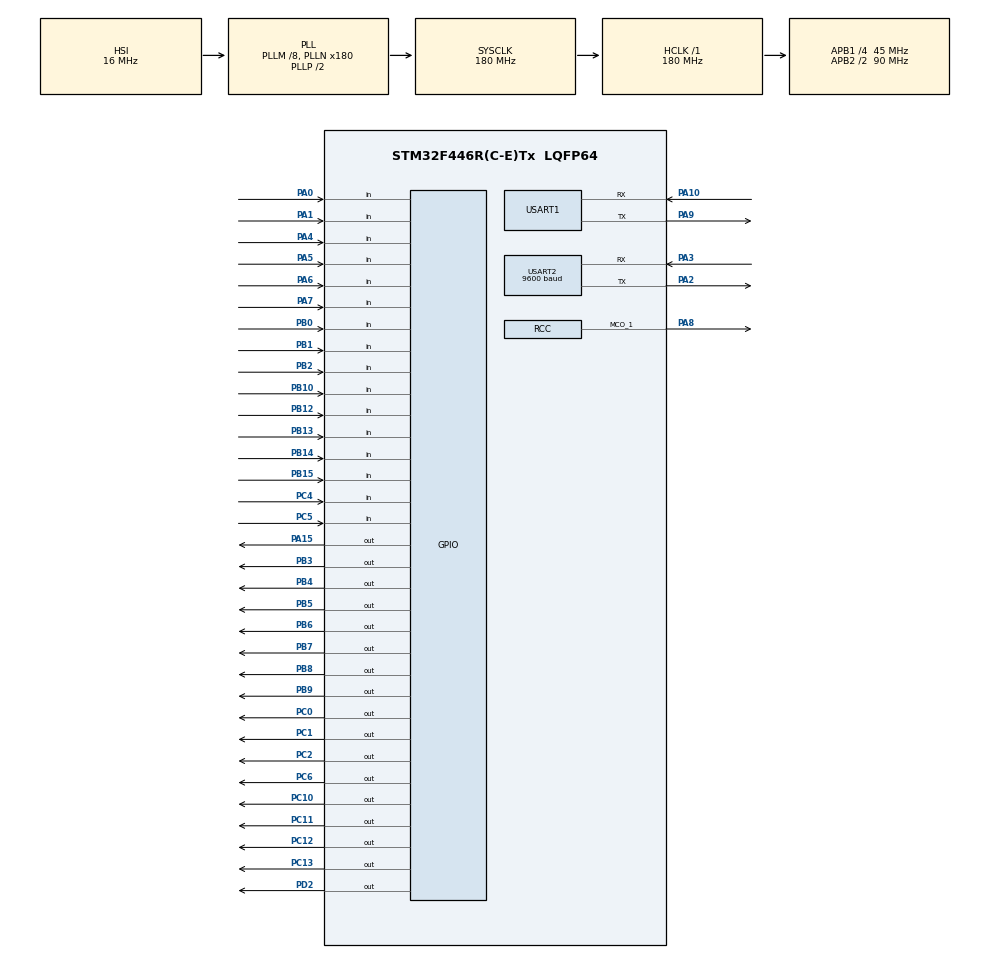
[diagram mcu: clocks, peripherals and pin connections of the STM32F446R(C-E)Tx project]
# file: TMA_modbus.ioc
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Mcu.Family=STM32F4
Mcu.Name=STM32F446R(C-E)Tx
Mcu.Package=LQFP64
NVIC.PriorityGroup=NVIC_PRIORITYGROUP_4
PA0-WKUP.Signal=GPIO_Input
PA1.Signal=GPIO_Input
PA10.Mode=Asynchronous
PA10.Signal=USART1_RX
PA13.Mode=Serial_Wire
PA13.Signal=SYS_JTMS-SWDIO
PA14.Mode=Serial_Wire
PA14.Signal=SYS_JTCK-SWCLK
PA15.Signal=GPIO_Output
PA2.Mode=Asynchronous
PA2.Signal=USART2_TX
PA3.Mode=Asynchronous
PA3.Signal=USART2_RX
PA4.Signal=GPIO_Input
PA5.Signal=GPIO_Input
PA6.Signal=GPIO_Input
PA7.Signal=GPIO_Input
PA8.Mode=Clock-out-1
PA8.Signal=RCC_MCO_1
PA9.Mode=Asynchronous
PA9.Signal=USART1_TX
PB0.Signal=GPIO_Input
PB1.Signal=GPIO_Input
PB10.Signal=GPIO_Input
PB12.Signal=GPIO_Input
PB13.Signal=GPIO_Input
PB14.Signal=GPIO_Input
PB15.Signal=GPIO_Input
PB2.Signal=GPIO_Input
PB3.Signal=GPIO_Output
PB4.Signal=GPIO_Output
PB5.Signal=GPIO_Output
PB6.Signal=GPIO_Output
PB7.Signal=GPIO_Output
PB8.Signal=GPIO_Output
PB9.Signal=GPIO_Output
PC0.Signal=GPIO_Output
PC1.Signal=GPIO_Output
PC10.Signal=GPIO_Output
PC11.Signal=GPIO_Output
PC12.Signal=GPIO_Output
PC13.Signal=GPIO_Output
PC2.Signal=GPIO_Output
PC4.Signal=GPIO_Input
PC5.Signal=GPIO_Input
PC6.Signal=GPIO_Output
PD2.Signal=GPIO_Output
ProjectManager.HeapSize=0x400
ProjectManager.StackSize=0x400
ProjectManager.TargetToolchain=MDK-ARM V5.32
RCC.AHBFreq_Value=180000000
RCC.APB1CLKDivider=RCC_HCLK_DIV4
RCC.APB1Freq_Value=45000000
RCC.APB1TimFreq_Value=90000000
RCC.APB2CLKDivider=RCC_HCLK_DIV2
RCC.APB2Freq_Value=90000000
RCC.APB2TimFreq_Value=180000000
RCC.CortexFreq_Value=180000000
RCC.HCLKFreq_Value=180000000
RCC.HSE_VALUE=25000000
RCC.PLLM=8
RCC.PLLN=180
RCC.SYSCLKFreq_VALUE=180000000
RCC.SYSCLKSource=RCC_SYSCLKSOURCE_PLLCLK
RCC.USBFreq_Value=180000000
RCC.VCOOutputFreq_Value=360000000
USART1.VirtualMode=VM_ASYNC
USART2.BaudRate=9600
USART2.VirtualMode=VM_ASYNC
board=custom

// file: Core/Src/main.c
/* USER CODE BEGIN Header */
/**
  ******************************************************************************
  * @file           : main.c
  * @brief          : Main program body
  ******************************************************************************
  * @attention
  *
  * Copyright (c) 2022 STMicroelectronics.
  * All rights reserved.
  *
  * This software is licensed under terms that can be found in the LICENSE file
  * in the root directory of this software component.
  * If no LICENSE file comes with this software, it is provided AS-IS.
  *
  ******************************************************************************
  */
/* USER CODE END Header */
#include "main.h"

/* USER CODE BEGIN Includes */
#include "modbus.h"
#include<stdio.h>
#include<stdlib.h>
#include<string.h>
/* USER CODE END Includes */

/* USER CODE BEGIN PD */
#define		CRC_START_MODBUS	0xFFFF
#define maxwriteregs 100
/* USER CODE END PD */

UART_HandleTypeDef huart1;
UART_HandleTypeDef huart2;

/* USER CODE BEGIN PV */
//static uint16_t crc_tab16[256];
struct Device{
    uint8_t data;
    uint16_t address;
    uint8_t id;
    struct Device *next;
};
typedef struct Device modbusDigReg;
modbusDigReg *_digReg;
modbusDigReg *_lastReg;

struct Slave{
    uint8_t *msg;
    uint16_t len;
    uint16_t crc;

    modbusDigReg *_device;
};
typedef struct Slave modbusSlave;

		modbusSlave *base=NULL;
    modbusDigReg* head = NULL;
/* USER CODE END PV */

void SystemClock_Config(void);
static void MX_GPIO_Init(void);
static void MX_USART1_UART_Init(void);
static void MX_USART2_UART_Init(void);

/* USER CODE BEGIN 0 */

modbusDigReg* searchNode(modbusDigReg *head,uint16_t key) //key = address
{
    modbusDigReg *temp = head;
    while(temp != NULL)
    {
         if(temp->address == key)
             return temp;
         temp = temp->next;
    }
    return 0;
}

uint8_t getID(modbusDigReg* head){
    return head->id;
}

void insertStart(modbusDigReg** head, uint32_t address){
		if(address<20000){
    modbusDigReg* newNode = (modbusDigReg*) malloc(sizeof(modbusDigReg));

    newNode->address = address;
		newNode->id = getID(*head);
    newNode->data = 0;
    newNode->next = 0;

		if(_digReg ==0){
			_digReg = newNode;
			_lastReg = _digReg;
		}
		else{
			_lastReg->next=newNode;
			_lastReg=newNode;
		}
    //changing the new head to this freshly entered node
    *head = _digReg;
		}
}
void setID(modbusDigReg* head, uint8_t id_device ){
    head->id=id_device;
}

void setValue(modbusDigReg* head, uint16_t address, uint16_t value){
    if(address<20000){
        modbusDigReg *temp;
        temp=searchNode(head,address);
        if(value) temp->data=0xFF;
        else temp->data=0x00;
    }
}

uint8_t getValue(modbusDigReg* head, uint16_t address){
    if(address<20000){
        modbusDigReg *temp;
        temp=searchNode(head,address);
        if(temp!=NULL) {
            return temp->data;
        }
        else return NULL;
    }
}

unsigned short int CRC16 (modbusSlave *slave, char *nData,unsigned short int wLength)
{
static const unsigned short int wCRCTable[] = {
0X0000, 0XC0C1, 0XC181, 0X0140, 0XC301, 0X03C0, 0X0280, 0XC241,
0XC601, 0X06C0, 0X0780, 0XC741, 0X0500, 0XC5C1, 0XC481, 0X0440,
0XCC01, 0X0CC0, 0X0D80, 0XCD41, 0X0F00, 0XCFC1, 0XCE81, 0X0E40,
0X0A00, 0XCAC1, 0XCB81, 0X0B40, 0XC901, 0X09C0, 0X0880, 0XC841,
0XD801, 0X18C0, 0X1980, 0XD941, 0X1B00, 0XDBC1, 0XDA81, 0X1A40,
0X1E00, 0XDEC1, 0XDF81, 0X1F40, 0XDD01, 0X1DC0, 0X1C80, 0XDC41,
0X1400, 0XD4C1, 0XD581, 0X1540, 0XD701, 0X17C0, 0X1680, 0XD641,
0XD201, 0X12C0, 0X1380, 0XD341, 0X1100, 0XD1C1, 0XD081, 0X1040,
0XF001, 0X30C0, 0X3180, 0XF141, 0X3300, 0XF3C1, 0XF281, 0X3240,
0X3600, 0XF6C1, 0XF781, 0X3740, 0XF501, 0X35C0, 0X3480, 0XF441,
0X3C00, 0XFCC1, 0XFD81, 0X3D40, 0XFF01, 0X3FC0, 0X3E80, 0XFE41,
0XFA01, 0X3AC0, 0X3B80, 0XFB41, 0X3900, 0XF9C1, 0XF881, 0X3840,
0X2800, 0XE8C1, 0XE981, 0X2940, 0XEB01, 0X2BC0, 0X2A80, 0XEA41,
0XEE01, 0X2EC0, 0X2F80, 0XEF41, 0X2D00, 0XEDC1, 0XEC81, 0X2C40,
0XE401, 0X24C0, 0X2580, 0XE541, 0X2700, 0XE7C1, 0XE681, 0X2640,
0X2200, 0XE2C1, 0XE381, 0X2340, 0XE101, 0X21C0, 0X2080, 0XE041,
0XA001, 0X60C0, 0X6180, 0XA141, 0X6300, 0XA3C1, 0XA281, 0X6240,
0X6600, 0XA6C1, 0XA781, 0X6740, 0XA501, 0X65C0, 0X6480, 0XA441,
0X6C00, 0XACC1, 0XAD81, 0X6D40, 0XAF01, 0X6FC0, 0X6E80, 0XAE41,
0XAA01, 0X6AC0, 0X6B80, 0XAB41, 0X6900, 0XA9C1, 0XA881, 0X6840,
0X7800, 0XB8C1, 0XB981, 0X7940, 0XBB01, 0X7BC0, 0X7A80, 0XBA41,
0XBE01, 0X7EC0, 0X7F80, 0XBF41, 0X7D00, 0XBDC1, 0XBC81, 0X7C40,
0XB401, 0X74C0, 0X7580, 0XB541, 0X7700, 0XB7C1, 0XB681, 0X7640,
0X7200, 0XB2C1, 0XB381, 0X7340, 0XB101, 0X71C0, 0X7080, 0XB041,
0X5000, 0X90C1, 0X9181, 0X5140, 0X9301, 0X53C0, 0X5280, 0X9241,
0X9601, 0X56C0, 0X5780, 0X9741, 0X5500, 0X95C1, 0X9481, 0X5440,
0X9C01, 0X5CC0, 0X5D80, 0X9D41, 0X5F00, 0X9FC1, 0X9E81, 0X5E40,
0X5A00, 0X9AC1, 0X9B81, 0X5B40, 0X9901, 0X59C0, 0X5880, 0X9841,
0X8801, 0X48C0, 0X4980, 0X8941, 0X4B00, 0X8BC1, 0X8A81, 0X4A40,
0X4E00, 0X8EC1, 0X8F81, 0X4F40, 0X8D01, 0X4DC0, 0X4C80, 0X8C41,
0X4400, 0X84C1, 0X8581, 0X4540, 0X8701, 0X47C0, 0X4680, 0X8641,
0X8201, 0X42C0, 0X4380, 0X8341, 0X4100, 0X81C1, 0X8081, 0X4040 };

unsigned char nTemp;
unsigned short int wCRCWord = 0xFFFF;

   while (wLength--)
   {
      nTemp = *nData++ ^ wCRCWord;
      wCRCWord >>= 8;
      wCRCWord ^= wCRCTable[nTemp];
   }
   return wCRCWord;

}

void inStart(modbusSlave** slave, modbusDigReg **head){

    modbusSlave* newSla = (modbusSlave*) malloc(sizeof(modbusSlave));
		newSla->_device=*head;
		*slave=newSla;
}

void setup_Input(modbusSlave *slave){

		if(HAL_GPIO_ReadPin(GPIOA,GPIO_PIN_0)) setValue(slave->_device,10001,0x00);
		else setValue(slave->_device,10001,0xFF);
		if(HAL_GPIO_ReadPin(GPIOA,GPIO_PIN_1)) setValue(slave->_device,10002,0x00);
		else setValue(slave->_device,10002,0xFF);
		if(HAL_GPIO_ReadPin(GPIOA,GPIO_PIN_4)) setValue(slave->_device,10003,0x00);
		else setValue(slave->_device,10003,0xFF00);
		if(HAL_GPIO_ReadPin(GPIOA,GPIO_PIN_5)) setValue(slave->_device,10004,0x00);
		else setValue(slave->_device,10004,0xFF00);
		if(HAL_GPIO_ReadPin(GPIOA,GPIO_PIN_6)) setValue(slave->_device,10005,0x00);
		else setValue(slave->_device,10005,0xFF00);
		if(HAL_GPIO_ReadPin(GPIOA,GPIO_PIN_7)) setValue(slave->_device,10006,0x00);
		else setValue(slave->_device,10006,0xFF00);
		if(HAL_GPIO_ReadPin(GPIOC,GPIO_PIN_4)) setValue(slave->_device,10007,0x00);
		else setValue(slave->_device,10007,0xFF00);
		if(HAL_GPIO_ReadPin(GPIOC,GPIO_PIN_5)) setValue(slave->_device,10008,0x00);
		else setValue(slave->_device,10008,0xFF00);
		if(HAL_GPIO_ReadPin(GPIOB,GPIO_PIN_15)) setValue(slave->_device,10009,0x00);
		else setValue(slave->_device,10009,0xFF00);
		if(HAL_GPIO_ReadPin(GPIOB,GPIO_PIN_14)) setValue(slave->_device,10010,0x00);
		else setValue(slave->_device,10010,0xFF00);
		if(HAL_GPIO_ReadPin(GPIOB,GPIO_PIN_13)) setValue(slave->_device,10011,0x00);
		else setValue(slave->_device,10011,0xFF00);
		if(HAL_GPIO_ReadPin(GPIOB,GPIO_PIN_12)) setValue(slave->_device,10012,0x00);
		else setValue(slave->_device,10012,0xFF00);
		if(HAL_GPIO_ReadPin(GPIOB,GPIO_PIN_10)) setValue(slave->_device,10013,0x00);
		else setValue(slave->_device,10013,0xFF00);
		if(HAL_GPIO_ReadPin(GPIOB,GPIO_PIN_2)) setValue(slave->_device,10014,0x00);
		else setValue(slave->_device,10014,0xFF00);
		if(HAL_GPIO_ReadPin(GPIOB,GPIO_PIN_1)) setValue(slave->_device,10015,0x00);
		else setValue(slave->_device,10015,0xFF00);
		if(HAL_GPIO_ReadPin(GPIOB,GPIO_PIN_0)) setValue(slave->_device,10016,0x00);
		else setValue(slave->_device,10016,0xFF00);

}
void sendData(modbusSlave *slave){

		slave->msg = (uint8_t*) malloc(sizeof(uint8_t)*8);
		slave->len = sizeof(uint8_t)*8;

    if(HAL_UART_Receive(&huart2, slave->msg, slave->len,200)==HAL_OK){
			HAL_GPIO_TogglePin(GPIOC,GPIO_PIN_6);
	}
}
uint8_t ver = 200;
void getVer(modbusSlave *slave, uint8_t funcType, uint16_t reg, uint16_t numReg){
		uint8_t func = reg>>8;
		slave->len = 7;
		slave->msg = (uint8_t*) malloc(sizeof(uint8_t)*slave->len);
		slave->msg[0] = getID(slave->_device);
		slave->msg[1] = funcType;
		slave->msg[2] = 0x02;
			switch(func){
				case 0x80:
					slave->msg[3] = ver>>8;
					slave->msg[4] = ver&0xff;
					break;
				case 0x40:
					slave->msg[3] = numReg>>8;
					slave->msg[4] = numReg&0xff;
			}

		uint16_t crc = CRC16(slave, (char*)slave->msg, slave->len-2);
		slave->msg[6] = crc >> 8;
		slave->msg[5] = crc & 0xFF;
}

uint16_t new_baud[8] = {48,96,192,384,576,1152,1280,2560};
void setBaud_Add(modbusSlave *slave, uint8_t funcType, uint16_t reg, uint16_t val){
		slave->len = 8;
		slave->msg = (uint8_t*) malloc(sizeof(uint8_t)*slave->len);
		slave->msg[0] = getID(slave->_device);
		slave->msg[1] = funcType;
		slave->msg[2] = reg>>8;
		slave->msg[3] = reg&0xff;
		slave->msg[4] = val>>8;
		slave->msg[5] = val&0xff;
		uint8_t new_id = slave->msg[5];
		switch(slave->msg[2]){
			case 0x20:
				HAL_UART_Abort_IT(&huart2);
				HAL_UART_DeInit(&huart2);
				huart2.Init.BaudRate = new_baud[(int)val]*100;
				if(HAL_UART_Init(&huart2)!=HAL_OK){
					Error_Handler();
				}
				break;
			case 0x40:
				while(slave->_device!=NULL){
					setID(slave->_device, new_id);
					slave->_device = slave->_device->next;
				}
				break;
		}
		uint16_t crc = CRC16(slave, (char*)slave->msg, slave->len-2);
		slave->msg[7] = crc >> 8;
		slave->msg[6] = crc & 0xFF;
}

void getDigitalStatus(modbusSlave *slave, uint8_t funcType, uint16_t startReg, uint16_t numReg){

    uint8_t bn =0;
    if(funcType==READ_DI) {
			startReg+=10001;
		}
    else {
			startReg+=1;
		}
    slave->len=numReg/8;
    if(numReg%8) slave->len++;
    slave->len+=5;
    slave->msg = (uint8_t*) malloc(sizeof(uint8_t)*slave->len);
    slave->msg[0]=getID(slave->_device);
    slave->msg[1]=funcType;
    slave->msg[2]=slave->len-5;
		switch (slave->msg[1]){
			case READ_DI:
					while (numReg--)
					{
									 if(getValue(slave->_device, startReg) && (bn<8)){

									 slave->msg[3] = slave->msg[3] &~ (1<<bn); //bitSet
									}
										else {
									slave->msg[3] = slave->msg[3] | (1<<bn);  //bitClear
									}
										if(getValue(slave->_device, startReg) && (bn>=8)){

									 slave->msg[4] = slave->msg[4] &~ (1<<(bn-8)); //bitSet
									}
										else {
									slave->msg[4] = slave->msg[4] | (1<<(bn-8));  //bitClear
									}
									bn++;                                     //increment the bit index
									startReg++;                               //increment the register
									}
					break;
			case READ_DO:
					while (numReg--)
					{
									 if(getValue(slave->_device, startReg) && (bn<8)){

									 slave->msg[3] = slave->msg[3] | (1<<bn); //bitSet
									}
									else {
									slave->msg[3] = slave->msg[3] &~ (1<<bn);  //bitClear
									}
									if(getValue(slave->_device, startReg) && (bn>=8)){

									 slave->msg[4] = slave->msg[4] | (1<<(bn-8)); //bitSet
									}
									else {
									slave->msg[4] = slave->msg[4] &~ (1<<(bn-8));  //bitClear
									}
									bn++;                                     //increment the bit index
									startReg++;                               //increment the register
									}
					break;
					}
		slave->crc = CRC16(slave, (char*)slave->msg, slave->len-2);
    slave->msg[slave->len-2] = slave->crc & 0xFF;
		slave->msg[slave->len-1] = slave->crc>>8;
}

void getStatus(modbusSlave *slave, uint8_t funcType, uint16_t reg, uint16_t val){
	slave->len=8;
	slave->msg = (uint8_t*) malloc(sizeof(uint8_t)*slave->len);

	if(funcType==WRITE_DO) {
		setValue(slave->_device,reg+1,val>>8);
		slave->msg[1] = WRITE_DO;

	}
	else{
		setValue(slave->_device,reg+40001,(val>>8));
		slave->msg[1] = WRITE_AO;
	}
	if(slave->msg[1] == WRITE_DO){
			slave->msg[0] = getID(slave->_device);
			slave->msg[2] = reg>>8;
			slave->msg[3] = reg&0xff;
			slave->msg[4] = val>>8;
			slave->msg[5] = val&0xff;
			uint16_t crc = CRC16(slave, (char*)slave->msg, slave->len-2);
			slave->msg[7] = crc >> 8;
			slave->msg[6] = crc & 0xFF;
			switch(slave->msg[3]){
				case 0x00:
				HAL_GPIO_WritePin(GPIOA,GPIO_PIN_15,slave->msg[4]&1);
				break;
				case 0x01:
				HAL_GPIO_WritePin(GPIOC,GPIO_PIN_10,slave->msg[4]&1);
				break;
				case 0x02:
				HAL_GPIO_WritePin(GPIOC,GPIO_PIN_11,slave->msg[4]&1);
				break;
				case 0x03:
				HAL_GPIO_WritePin(GPIOC,GPIO_PIN_12,slave->msg[4]&1);
				break;
				case 0x04:
				HAL_GPIO_WritePin(GPIOD,GPIO_PIN_2,slave->msg[4]&1);
				break;
				case 0x05:
				HAL_GPIO_WritePin(GPIOB,GPIO_PIN_3,slave->msg[4]&1);
				break;
				case 0x06:
				HAL_GPIO_WritePin(GPIOB,GPIO_PIN_4,slave->msg[4]&1);
				break;
				case 0x07:
				HAL_GPIO_WritePin(GPIOB,GPIO_PIN_5,slave->msg[4]&1);
				break;
				case 0x08:
				HAL_GPIO_WritePin(GPIOB,GPIO_PIN_6,slave->msg[4]&1);
				break;
				case 0x09:
				HAL_GPIO_WritePin(GPIOB,GPIO_PIN_7,slave->msg[4]&1);
				break;
				case 0x0A:
				HAL_GPIO_WritePin(GPIOB,GPIO_PIN_8,slave->msg[4]&1);
				break;
				case 0x0B:
				HAL_GPIO_WritePin(GPIOB,GPIO_PIN_9,slave->msg[4]&1);
				break;
				case 0x0C:
				HAL_GPIO_WritePin(GPIOC,GPIO_PIN_13,slave->msg[4]&1);
				break;
				case 0x0D:
				HAL_GPIO_WritePin(GPIOC,GPIO_PIN_0,slave->msg[4]&1);
				break;
				case 0x0E:
				HAL_GPIO_WritePin(GPIOC,GPIO_PIN_1,slave->msg[4]&1);
				break;
				case 0x0F:
				HAL_GPIO_WritePin(GPIOC,GPIO_PIN_2,slave->msg[4]&1);
				break;
			}
		}

//	else if (slave->msg[1] == WRITE_AO){
//				deleteDevice(slave->_device);
//				free(slave->msg);
//				setup(val&0xff);
//				slave->_device=head;
//				slave->len=8;
//				slave->msg = (uint8_t*) malloc(sizeof(uint8_t)*slave->len);
//				 slave->msg[1] = WRITE_AO;
//				 slave->msg[2] = reg>>8;
//				 slave->msg[3] = reg&0xff;
//				 slave->msg[4] = val>>8;
//				 slave->msg[5] = val&0xff;
//				if(slave->msg[5] == getID(slave->_device)) HAL_GPIO_WritePin(GPIOC,GPIO_PIN_6,1);
//				uint16_t crc = CRC16( slave, (char*) slave->msg,  slave->len-2);
//				 slave->msg[7] = crc >> 8;
//				 slave->msg[6] = crc & 0xFF;
//		}
}

void getStatus2(modbusSlave *slave, uint8_t funcType, uint16_t reg, uint16_t val){
	slave->len=8;
	if(funcType==WRITE_MULTIAO) {
		slave->msg[1] = WRITE_MULTIAO;
	}
	else{
		return;
	}
	slave->msg[2] = reg>>8;
	slave->msg[3] = reg&0xff;
	slave->msg[4] = val>>8;
	slave->msg[5] = val&0xff;
	uint16_t crc = CRC16(slave, (char*)slave->msg, slave->len-2);
  slave->msg[7] = crc >> 8;
  slave->msg[6] = crc & 0xFF;
}

void run(modbusSlave *slave){
    uint8_t funcT;
    uint16_t byte1, byte2, byte3;
    sendData(slave);
    funcT = slave->msg[1];
    byte1 = slave->msg[2] <<8 | slave->msg[3];
    byte2 = slave->msg[4] <<8 | slave->msg[5];
		if(funcT == WRITE_MULTIAO){
			if(byte2<maxwriteregs){;
				int st=0;
				for(int i=0;i<byte2;i++){
					byte3 = (slave->msg[7+st]<<8) | slave->msg[8+st];
					setValue(slave->_device, byte1 + 40001 + i, byte3);
					st+=2;
				}
			}
			else{
				return;
			}
		}
		free(slave->msg);
    slave->len=0;
    switch (funcT)
    {
    case READ_DI:
        getDigitalStatus(slave,funcT, byte1, byte2);
        break;
    case READ_DO:
        getDigitalStatus(slave,funcT, byte1, byte2);
        break;
		case WRITE_DO:
				getStatus(slave, funcT, byte1, byte2);
				break;
		case WRITE_AO:
				setBaud_Add(slave, funcT, byte1, byte2);
				break;
		case READ_AO:
        getVer(slave,funcT, byte1, byte2);
        break;
    default:
        break;
    }

    if(slave->len){
        HAL_UART_Transmit(&huart2, slave->msg, slave->len,200);
				free(slave->msg);
				return;
    }
	}

/* USER CODE END 0 */

int main(void)
{

  /* MCU Configuration--------------------------------------------------------*/

  /* Reset of all peripherals, Initializes the Flash interface and the Systick. */
  HAL_Init();

  /* Configure the system clock */
  SystemClock_Config();

  /* Initialize all configured peripherals */
  MX_GPIO_Init();
  MX_USART1_UART_Init();
  MX_USART2_UART_Init();
  /* USER CODE BEGIN 2 */
//		setup(1);			//set id device
		insertStart(&head,1);
		setID(head, 1);
		for(int i=2;i<17; i++){
			insertStart(&head,i);
		}
		//Analog
		for(int i=1; i<17; i++){
			insertStart(&head,10000+i);
		}

		inStart(&base,&head);

  /* USER CODE END 2 */

  /* Infinite loop */
  while (1)
  {

    /* USER CODE BEGIN 3 */

		setup_Input(base);
    run(base);
	}
  /* USER CODE END 3 */
}

void SystemClock_Config(void)
{
  RCC_OscInitTypeDef RCC_OscInitStruct = {0};
  RCC_ClkInitTypeDef RCC_ClkInitStruct = {0};

  /** Configure the main internal regulator output voltage
  */
  __HAL_RCC_PWR_CLK_ENABLE();
  __HAL_PWR_VOLTAGESCALING_CONFIG(PWR_REGULATOR_VOLTAGE_SCALE1);
  /** Initializes the RCC Oscillators according to the specified parameters
  * in the RCC_OscInitTypeDef structure.
  */
  RCC_OscInitStruct.OscillatorType = RCC_OSCILLATORTYPE_HSI;
  RCC_OscInitStruct.HSIState = RCC_HSI_ON;
  RCC_OscInitStruct.HSICalibrationValue = RCC_HSICALIBRATION_DEFAULT;
  RCC_OscInitStruct.PLL.PLLState = RCC_PLL_ON;
  RCC_OscInitStruct.PLL.PLLSource = RCC_PLLSOURCE_HSI;
  RCC_OscInitStruct.PLL.PLLM = 8;
  RCC_OscInitStruct.PLL.PLLN = 180;
  RCC_OscInitStruct.PLL.PLLP = RCC_PLLP_DIV2;
  RCC_OscInitStruct.PLL.PLLQ = 2;
  RCC_OscInitStruct.PLL.PLLR = 2;
  if (HAL_RCC_OscConfig(&RCC_OscInitStruct) != HAL_OK)
  {
    Error_Handler();
  }
  /** Activate the Over-Drive mode
  */
  if (HAL_PWREx_EnableOverDrive() != HAL_OK)
  {
    Error_Handler();
  }
  /** Initializes the CPU, AHB and APB buses clocks
  */
  RCC_ClkInitStruct.ClockType = RCC_CLOCKTYPE_HCLK|RCC_CLOCKTYPE_SYSCLK
                              |RCC_CLOCKTYPE_PCLK1|RCC_CLOCKTYPE_PCLK2;
  RCC_ClkInitStruct.SYSCLKSource = RCC_SYSCLKSOURCE_PLLCLK;
  RCC_ClkInitStruct.AHBCLKDivider = RCC_SYSCLK_DIV1;
  RCC_ClkInitStruct.APB1CLKDivider = RCC_HCLK_DIV4;
  RCC_ClkInitStruct.APB2CLKDivider = RCC_HCLK_DIV2;

  if (HAL_RCC_ClockConfig(&RCC_ClkInitStruct, FLASH_LATENCY_5) != HAL_OK)
  {
    Error_Handler();
  }
  HAL_RCC_MCOConfig(RCC_MCO1, RCC_MCO1SOURCE_HSI, RCC_MCODIV_1);
}

static void MX_USART1_UART_Init(void)
{

  huart1.Instance = USART1;
  huart1.Init.BaudRate = 115200;
  huart1.Init.WordLength = UART_WORDLENGTH_8B;
  huart1.Init.StopBits = UART_STOPBITS_1;
  huart1.Init.Parity = UART_PARITY_NONE;
  huart1.Init.Mode = UART_MODE_TX_RX;
  huart1.Init.HwFlowCtl = UART_HWCONTROL_NONE;
  huart1.Init.OverSampling = UART_OVERSAMPLING_16;
  if (HAL_UART_Init(&huart1) != HAL_OK)
  {
    Error_Handler();
  }

}

static void MX_USART2_UART_Init(void)
{

  huart2.Instance = USART2;
  huart2.Init.BaudRate = 9600;
  huart2.Init.WordLength = UART_WORDLENGTH_8B;
  huart2.Init.StopBits = UART_STOPBITS_1;
  huart2.Init.Parity = UART_PARITY_NONE;
  huart2.Init.Mode = UART_MODE_TX_RX;
  huart2.Init.HwFlowCtl = UART_HWCONTROL_NONE;
  huart2.Init.OverSampling = UART_OVERSAMPLING_16;
  if (HAL_UART_Init(&huart2) != HAL_OK)
  {
    Error_Handler();
  }

}

static void MX_GPIO_Init(void)
{
  GPIO_InitTypeDef GPIO_InitStruct = {0};

  /* GPIO Ports Clock Enable */
  __HAL_RCC_GPIOC_CLK_ENABLE();
  __HAL_RCC_GPIOA_CLK_ENABLE();
  __HAL_RCC_GPIOB_CLK_ENABLE();
  __HAL_RCC_GPIOD_CLK_ENABLE();

  /*Configure GPIO pin Output Level */
  HAL_GPIO_WritePin(GPIOC, GPIO_PIN_13|GPIO_PIN_0|GPIO_PIN_1|GPIO_PIN_2
                          |GPIO_PIN_6|GPIO_PIN_10|GPIO_PIN_11|GPIO_PIN_12, GPIO_PIN_RESET);

  /*Configure GPIO pin Output Level */
  HAL_GPIO_WritePin(GPIOA, GPIO_PIN_15, GPIO_PIN_RESET);

  /*Configure GPIO pin Output Level */
  HAL_GPIO_WritePin(GPIOD, GPIO_PIN_2, GPIO_PIN_RESET);

  /*Configure GPIO pin Output Level */
  HAL_GPIO_WritePin(GPIOB, GPIO_PIN_3|GPIO_PIN_4|GPIO_PIN_5|GPIO_PIN_6
                          |GPIO_PIN_7|GPIO_PIN_8|GPIO_PIN_9, GPIO_PIN_RESET);

  /*Configure GPIO pins : PC13 PC0 PC1 PC2
                           PC6 PC10 PC11 PC12 */
  GPIO_InitStruct.Pin = GPIO_PIN_13|GPIO_PIN_0|GPIO_PIN_1|GPIO_PIN_2
                          |GPIO_PIN_6|GPIO_PIN_10|GPIO_PIN_11|GPIO_PIN_12;
  GPIO_InitStruct.Mode = GPIO_MODE_OUTPUT_PP;
  GPIO_InitStruct.Pull = GPIO_NOPULL;
  GPIO_InitStruct.Speed = GPIO_SPEED_FREQ_LOW;
  HAL_GPIO_Init(GPIOC, &GPIO_InitStruct);

  /*Configure GPIO pins : PA0 PA1 PA4 PA5
                           PA6 PA7 */
  GPIO_InitStruct.Pin = GPIO_PIN_0|GPIO_PIN_1|GPIO_PIN_4|GPIO_PIN_5
                          |GPIO_PIN_6|GPIO_PIN_7;
  GPIO_InitStruct.Mode = GPIO_MODE_INPUT;
  GPIO_InitStruct.Pull = GPIO_NOPULL;
  HAL_GPIO_Init(GPIOA, &GPIO_InitStruct);

  /*Configure GPIO pins : PC4 PC5 */
  GPIO_InitStruct.Pin = GPIO_PIN_4|GPIO_PIN_5;
  GPIO_InitStruct.Mode = GPIO_MODE_INPUT;
  GPIO_InitStruct.Pull = GPIO_NOPULL;
  HAL_GPIO_Init(GPIOC, &GPIO_InitStruct);

  /*Configure GPIO pins : PB0 PB1 PB2 PB10
                           PB12 PB13 PB14 PB15 */
  GPIO_InitStruct.Pin = GPIO_PIN_0|GPIO_PIN_1|GPIO_PIN_2|GPIO_PIN_10
                          |GPIO_PIN_12|GPIO_PIN_13|GPIO_PIN_14|GPIO_PIN_15;
  GPIO_InitStruct.Mode = GPIO_MODE_INPUT;
  GPIO_InitStruct.Pull = GPIO_NOPULL;
  HAL_GPIO_Init(GPIOB, &GPIO_InitStruct);

  /*Configure GPIO pin : PA8 */
  GPIO_InitStruct.Pin = GPIO_PIN_8;
  GPIO_InitStruct.Mode = GPIO_MODE_AF_PP;
  GPIO_InitStruct.Pull = GPIO_NOPULL;
  GPIO_InitStruct.Speed = GPIO_SPEED_FREQ_LOW;
  GPIO_InitStruct.Alternate = GPIO_AF0_MCO;
  HAL_GPIO_Init(GPIOA, &GPIO_InitStruct);

  /*Configure GPIO pin : PA15 */
  GPIO_InitStruct.Pin = GPIO_PIN_15;
  GPIO_InitStruct.Mode = GPIO_MODE_OUTPUT_PP;
  GPIO_InitStruct.Pull = GPIO_NOPULL;
  GPIO_InitStruct.Speed = GPIO_SPEED_FREQ_LOW;
  HAL_GPIO_Init(GPIOA, &GPIO_InitStruct);

  /*Configure GPIO pin : PD2 */
  GPIO_InitStruct.Pin = GPIO_PIN_2;
  GPIO_InitStruct.Mode = GPIO_MODE_OUTPUT_PP;
  GPIO_InitStruct.Pull = GPIO_NOPULL;
  GPIO_InitStruct.Speed = GPIO_SPEED_FREQ_LOW;
  HAL_GPIO_Init(GPIOD, &GPIO_InitStruct);

  /*Configure GPIO pins : PB3 PB4 PB5 PB6
                           PB7 PB8 PB9 */
  GPIO_InitStruct.Pin = GPIO_PIN_3|GPIO_PIN_4|GPIO_PIN_5|GPIO_PIN_6
                          |GPIO_PIN_7|GPIO_PIN_8|GPIO_PIN_9;
  GPIO_InitStruct.Mode = GPIO_MODE_OUTPUT_PP;
  GPIO_InitStruct.Pull = GPIO_NOPULL;
  GPIO_InitStruct.Speed = GPIO_SPEED_FREQ_LOW;
  HAL_GPIO_Init(GPIOB, &GPIO_InitStruct);

}

void Error_Handler(void)
{
  __disable_irq();
  while (1)
  {
  }
}
